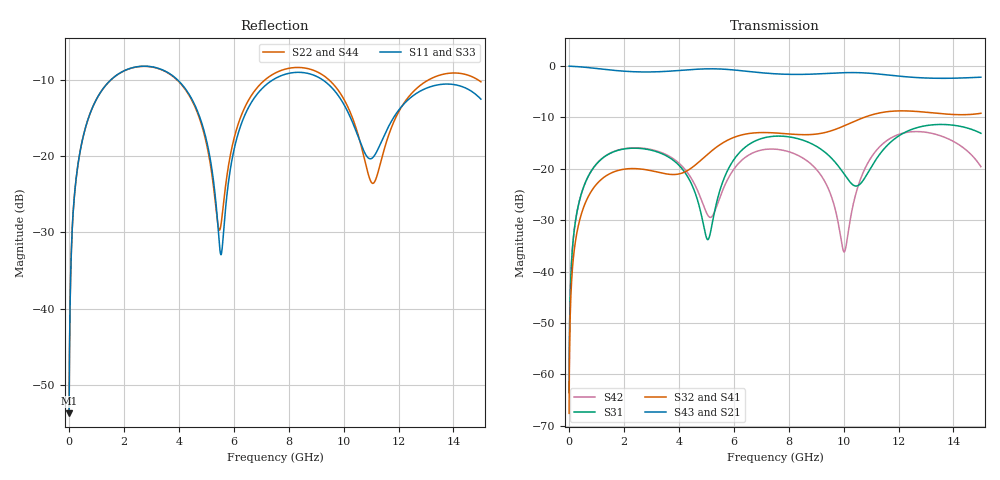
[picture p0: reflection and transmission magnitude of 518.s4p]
! Created with skrf 1.8.0 (http://scikit-rf.org).
# GHz S RI R 50.0
!freq ReS11 ImS11 ReS12 ImS12 ReS13 ImS13
! ReS14 ImS14
! ReS21 ImS21 ReS22 ImS22 ReS23 ImS23
! ReS24 ImS24
! ReS31 ImS31 ReS32 ImS32 ReS33 ImS33
! ReS34 ImS34
! ReS41 ImS41 ReS42 ImS42 ReS43 ImS43
! ReS44 ImS44
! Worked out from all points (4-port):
!   2499 points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, 5 MHz to 15 GHz, reference 50 ohm
!   strongest paths, dB at 5 MHz, 3.476 GHz, 7.19 GHz, 11.1 GHz, 15 GHz:
!     S43: 0.0, -1.0, -1.4, -1.5, -2.2
!     S21: 0.0, -1.0, -1.4, -1.5, -2.2
!     S32: -67.6, -20.9, -12.9, -9.4, -9.2
!     S41: -67.6, -21.0, -13.0, -9.4, -9.2
!     S31: -63.6, -17.3, -13.8, -18.8, -13.1
!     S42: -63.6, -17.1, -16.2, -17.0, -19.6
!   lowest |S11| = -53.8 dB at 5 MHz (marker M1), VSWR 1.00, Z = 50.2 + j0.124 ohm
!   |S11| at or under -10 dB: start of sweep to 1.503 GHz; 3.976 GHz to 7.392 GHz (3.416 GHz wide, 60.1 % of centre); 9.269 GHz to end of sweep
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0.005  0.00163 0.00124  0.9983 -0.00317  8.22e-05 0.000659  -7.98e-05 -0.000411
       0.9983 -0.00317  0.00163 0.00124  -7.98e-05 -0.000411  8.22e-05 0.000659
       8.22e-05 0.000659  -7.98e-05 -0.000411  0.00163 0.00124  0.9983 -0.00317
       -7.98e-05 -0.000411  8.22e-05 0.000659  0.9983 -0.00317  0.00163 0.00124
0.3126303  0.0238 0.0814  0.9675 -0.1974  0.011 0.0391  -0.0092 -0.0242
           0.9675 -0.1974  0.0238 0.0814  -0.00921 -0.0241  0.0111 0.0391
           0.011 0.0391  -0.00921 -0.0241  0.0238 0.0814  0.9675 -0.1974
           -0.0092 -0.0242  0.0111 0.0391  0.9675 -0.1974  0.0238 0.0814
1.569404  0.2716 0.1773  0.5461 -0.7313  0.1298 0.0636  -0.0917 -0.00569
          0.5461 -0.7313  0.2711 0.1776  -0.0918 -0.00552  0.1316 0.0612
          0.1298 0.0636  -0.0918 -0.00552  0.2715 0.1773  0.5462 -0.7313
          -0.0917 -0.00569  0.1316 0.0612  0.5462 -0.7313  0.2711 0.1775
5.364735  0.0249 -0.0395  -0.9286 -0.1445  0.0284 0.0359  -0.023 0.1606
          -0.9286 -0.1445  0.0338 -0.0276  -0.0199 0.161  -0.033 0.0263
          0.0284 0.0359  -0.0199 0.161  0.0264 -0.0383  -0.9287 -0.1445
          -0.023 0.1606  -0.033 0.0263  -0.9287 -0.1445  0.0317 -0.0267
8.584827  0.3544 -0.0216  0.0216 0.8309  0.1248 -0.1399  0.2054 -0.0583
          0.0216 0.8309  0.3772 -0.0588  0.205 -0.0649  0.1184 -0.0374
          0.1248 -0.1399  0.205 -0.0649  0.3535 -0.0201  0.0207 0.831
          0.2054 -0.0583  0.1184 -0.0374  0.0207 0.831  0.3779 -0.0586
11.28595  0.1088 0.0375  0.8369 0.00465  0.0254 0.1331  -0.00851 -0.3496
          0.8369 0.00465  0.0767 0.0305  -0.0208 -0.3485  0.0338 0.1577
          0.0254 0.1331  -0.0208 -0.3485  0.1133 0.0361  0.8368 0.00678
          -0.00851 -0.3496  0.0338 0.1577  0.8368 0.00678  0.072 0.0335
15  0.2172 -0.0979  -0.2922 -0.7228  0.0434 -0.2177  -0.305 0.1611
    -0.2922 -0.7228  0.2623 -0.1647  -0.2974 0.1794  0.0914 -0.0518
    0.0434 -0.2177  -0.2974 0.1794  0.2185 -0.0881  -0.2879 -0.7247
    -0.305 0.1611  0.0914 -0.0518  -0.2879 -0.7247  0.2629 -0.1674
